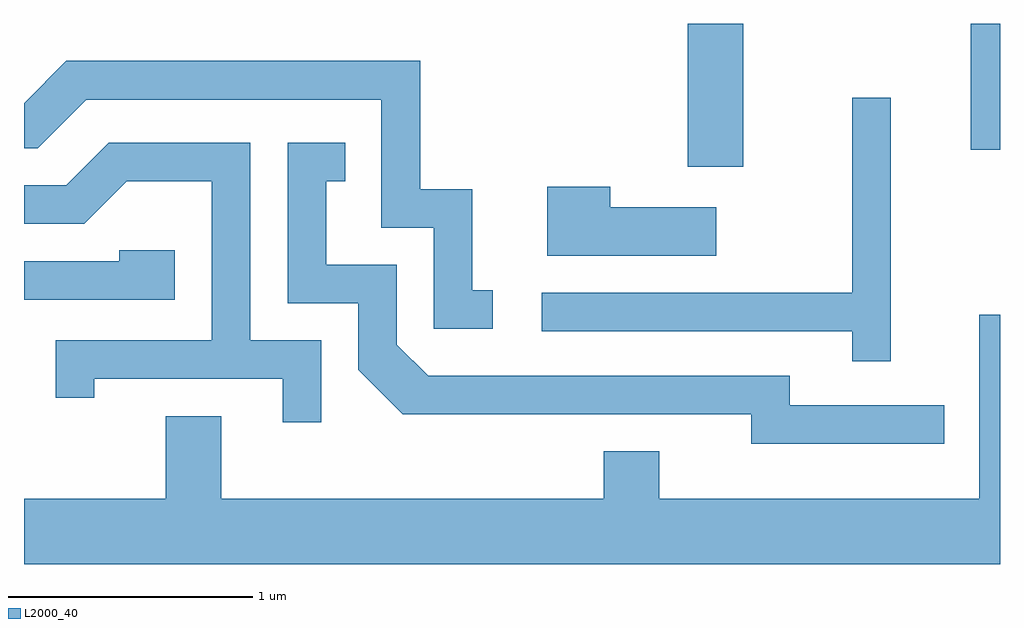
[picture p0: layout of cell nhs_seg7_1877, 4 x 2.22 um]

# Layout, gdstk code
import gdstk
lib = gdstk.Library(unit=1e-6, precision=1e-09)
def R(c, l, rs):  # rectangles x0, y0, x1, y1
    for r in rs: c.add(gdstk.rectangle(r[:2], r[2:], *l))
def P(c, l, *ps):  # polygons
    for p in ps: c.add(gdstk.Polygon(p, *l))
L2000_40 = (2000, 40)

nhs_seg7_1877 = lib.new_cell('nhs_seg7_1877')
R(nhs_seg7_1877, L2000_40, [(244.331,1773.666,244.559,1774.252), (245.491,1773.736,245.611,1774.252)])
P(nhs_seg7_1877, L2000_40, [(243.533,1773.159),(243.449,1773.159),(243.449,1773.574),(243.234,1773.574),(243.234,1774.099),(241.784,1774.099),(241.611,1773.926),(241.611,1773.741),(241.667,1773.741),(241.867,1773.941),(243.076,1773.941),(243.076,1773.416),(243.291,1773.416),(243.291,1773.001),(243.533,1773.001)],
  [(245.164,1773.948),(245.006,1773.948),(245.006,1773.149),(243.733,1773.149),(243.733,1772.991),(245.006,1772.991),(245.006,1772.868),(245.164,1772.868)],
  [(242.829,1772.954),(242.539,1772.954),(242.539,1773.764),(241.959,1773.764),(241.784,1773.589),(241.611,1773.589),(241.611,1773.431),(241.857,1773.431),(242.032,1773.606),(242.381,1773.606),(242.381,1772.954),(241.741,1772.954),(241.741,1772.718),(241.899,1772.718),(241.899,1772.796),(242.671,1772.796),(242.671,1772.618),(242.829,1772.618)],
  [(245.383,1772.689),(244.749,1772.689),(244.749,1772.809),(243.267,1772.809),(243.139,1772.937),(243.139,1773.264),(242.849,1773.264),(242.849,1773.606),(242.928,1773.606),(242.928,1773.764),(242.691,1773.764),(242.691,1773.106),(242.981,1773.106),(242.981,1772.834),(243.164,1772.651),(244.591,1772.651),(244.591,1772.531),(245.383,1772.531)],
  [(244.449,1773.499),(244.014,1773.499),(244.014,1773.584),(243.756,1773.584),(243.756,1773.301),(244.449,1773.301)],
  [(242.229,1773.324),(242.001,1773.324),(242.001,1773.279),(241.611,1773.279),(241.611,1773.121),(242.229,1773.121)],
  [(245.611,1773.058),(245.526,1773.058),(245.526,1772.304),(244.214,1772.304),(244.214,1772.499),(243.986,1772.499),(243.986,1772.304),(242.419,1772.304),(242.419,1772.644),(242.191,1772.644),(242.191,1772.304),(241.611,1772.304),(241.611,1772.036),(245.611,1772.036)])

lib.write_gds('nhs_seg7_1877.gds')
